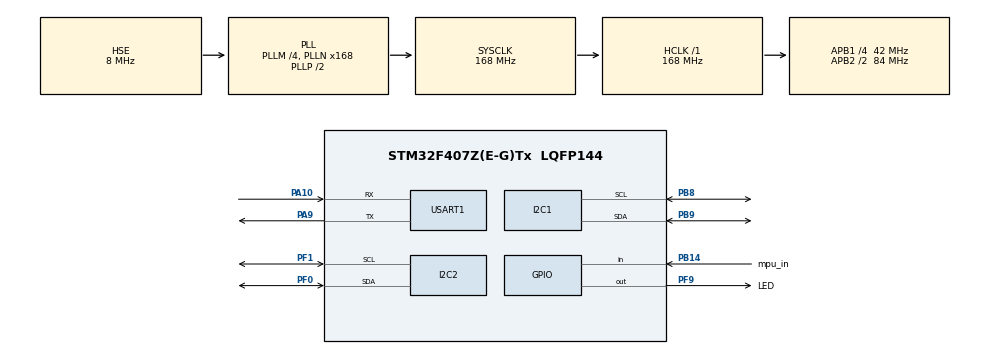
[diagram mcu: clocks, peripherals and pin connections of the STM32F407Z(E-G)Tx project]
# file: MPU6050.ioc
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Dma.Request0=USART1_RX
Dma.USART1_RX.0.Direction=DMA_PERIPH_TO_MEMORY
Dma.USART1_RX.0.FIFOMode=DMA_FIFOMODE_DISABLE
Dma.USART1_RX.0.Instance=DMA2_Stream2
Dma.USART1_RX.0.MemDataAlignment=DMA_MDATAALIGN_BYTE
Dma.USART1_RX.0.MemInc=DMA_MINC_ENABLE
Dma.USART1_RX.0.Mode=DMA_CIRCULAR
Dma.USART1_RX.0.PeriphDataAlignment=DMA_PDATAALIGN_BYTE
Dma.USART1_RX.0.PeriphInc=DMA_PINC_DISABLE
Dma.USART1_RX.0.Priority=DMA_PRIORITY_LOW
Mcu.Family=STM32F4
Mcu.Name=STM32F407Z(E-G)Tx
Mcu.Package=LQFP144
NVIC.DMA2_Stream2_IRQn=true\:0\:0\:false\:false\:true\:false\:true\:true
NVIC.PriorityGroup=NVIC_PRIORITYGROUP_4
NVIC.USART1_IRQn=true\:0\:0\:false\:false\:true\:true\:true\:true
PA10.Mode=Asynchronous
PA10.Signal=USART1_RX
PA13.Mode=Serial_Wire
PA13.Signal=SYS_JTMS-SWDIO
PA14.Mode=Serial_Wire
PA14.Signal=SYS_JTCK-SWCLK
PA9.Mode=Asynchronous
PA9.Signal=USART1_TX
PB14.GPIO_Label=mpu_in
PB14.Signal=GPIO_Input
PB8.Mode=I2C
PB8.Signal=I2C1_SCL
PB9.Mode=I2C
PB9.Signal=I2C1_SDA
PF0.Mode=I2C
PF0.Signal=I2C2_SDA
PF1.Mode=I2C
PF1.Signal=I2C2_SCL
PF9.GPIO_Label=LED
PF9.GPIO_ModeDefaultOutputPP=GPIO_MODE_OUTPUT_PP
PF9.GPIO_PuPd=GPIO_PULLDOWN
PF9.Signal=GPIO_Output
PH0-OSC_IN.Mode=HSE-External-Oscillator
PH0-OSC_IN.Signal=RCC_OSC_IN
PH1-OSC_OUT.Mode=HSE-External-Oscillator
PH1-OSC_OUT.Signal=RCC_OSC_OUT
ProjectManager.HeapSize=0x200
ProjectManager.StackSize=0x400
ProjectManager.TargetToolchain=MDK-ARM V5.27
RCC.48MHZClocksFreq_Value=84000000
RCC.AHBFreq_Value=168000000
RCC.APB1CLKDivider=RCC_HCLK_DIV4
RCC.APB1Freq_Value=42000000
RCC.APB1TimFreq_Value=84000000
RCC.APB2CLKDivider=RCC_HCLK_DIV2
RCC.APB2Freq_Value=84000000
RCC.APB2TimFreq_Value=168000000
RCC.CortexFreq_Value=168000000
RCC.HCLKFreq_Value=168000000
RCC.HSE_VALUE=8000000
RCC.HSI_VALUE=16000000
RCC.LSE_VALUE=32768
RCC.PLLM=4
RCC.PLLN=168
RCC.PLLSourceVirtual=RCC_PLLSOURCE_HSE
RCC.SYSCLKFreq_VALUE=168000000
RCC.SYSCLKSource=RCC_SYSCLKSOURCE_PLLCLK
RCC.VCOOutputFreq_Value=336000000
USART1.VirtualMode=VM_ASYNC
board=custom

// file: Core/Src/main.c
/* USER CODE BEGIN Header */
/**
  ******************************************************************************
  * @file           : main.c
  * @brief          : Main program body
  ******************************************************************************
  * @attention
  *
  * Copyright (c) 2022 STMicroelectronics.
  * All rights reserved.
  *
  * This software is licensed under terms that can be found in the LICENSE file
  * in the root directory of this software component.
  * If no LICENSE file comes with this software, it is provided AS-IS.
  *
  ******************************************************************************
  */
/* USER CODE END Header */
#include "main.h"
#include "dma.h"
#include "i2c.h"
#include "usart.h"
#include "gpio.h"

/* USER CODE BEGIN Includes */
#include "stdio.h"
#include "mpu6050.h"
#include "oled.h"
/* USER CODE END Includes */

/* USER CODE BEGIN PV */
float data=0.0f;
/* USER CODE END PV */

void SystemClock_Config(void);

/* USER CODE BEGIN 0 */
uint16_t acc0;
uint16_t acc1;
uint16_t acc2;

uint16_t gyro0;
uint16_t gyro1;
uint16_t gyro2;
char num_buffer0[6];
char num_buffer1[6];
char num_buffer2[6];
/* USER CODE END 0 */

int main(void)
{

  /* MCU Configuration--------------------------------------------------------*/

  /* Reset of all peripherals, Initializes the Flash interface and the Systick. */
  HAL_Init();

  /* Configure the system clock */
  SystemClock_Config();

  /* Initialize all configured peripherals */
  MX_GPIO_Init();
  MX_DMA_Init();
  MX_I2C2_Init();
  MX_USART1_UART_Init();
  MX_I2C1_Init();
  /* USER CODE BEGIN 2 */
	//初始化mpu6050
	while(w_mpu_init() != mpu_ok)
	{
		printf("0x%x (ID_ERROR)\r\n", w_mpu_init());
		HAL_Delay(500);
	}
	dmp_init();

	//初始化oled
	OLED_Init();
	OLED_CLS();
  /* USER CODE END 2 */

  /* Infinite loop */
  while (1)
  {

    /* USER CODE BEGIN 3 */
		w_mpu_read_all_raw_data(&mpu_raw_msg);

//		acc0=mpu_raw_msg.mpu_acce[0];
//		acc1=mpu_raw_msg.mpu_acce[1];
//		acc2=mpu_raw_msg.mpu_acce[2];
//
//		gyro0=mpu_raw_msg.mpu_gyro[0];
//		gyro1=mpu_raw_msg.mpu_gyro[1];
//		gyro2=mpu_raw_msg.mpu_gyro[2];

		//读取mpu姿态
		read_dmp(&mpu_pose_msg);
		printf("Pitch: %f\t ", mpu_pose_msg.pitch);
		printf("Roll:  %f\t ", mpu_pose_msg.roll);
		printf("Yaw:   %f\t ", mpu_pose_msg.yaw);
		//data=mpu_pose_msg.yaw;
		printf("\r\n");
		sprintf(num_buffer0,"yaw:%0.2f",mpu_pose_msg.yaw);
		OLED_ShowStr(0,0,num_buffer0,2);
		HAL_Delay(5);
		sprintf(num_buffer1,"pitch:%0.2f",mpu_pose_msg.pitch);
		OLED_ShowStr(0,2,num_buffer1,2);
		HAL_Delay(5);
		sprintf(num_buffer2,"roll:%0.2f",mpu_pose_msg.roll);
		OLED_ShowStr(0,4,num_buffer2,2);
		HAL_Delay(5);
  }
  /* USER CODE END 3 */
}

void SystemClock_Config(void)
{
  RCC_OscInitTypeDef RCC_OscInitStruct = {0};
  RCC_ClkInitTypeDef RCC_ClkInitStruct = {0};

  /** Configure the main internal regulator output voltage
  */
  __HAL_RCC_PWR_CLK_ENABLE();
  __HAL_PWR_VOLTAGESCALING_CONFIG(PWR_REGULATOR_VOLTAGE_SCALE1);

  /** Initializes the RCC Oscillators according to the specified parameters
  * in the RCC_OscInitTypeDef structure.
  */
  RCC_OscInitStruct.OscillatorType = RCC_OSCILLATORTYPE_HSE;
  RCC_OscInitStruct.HSEState = RCC_HSE_ON;
  RCC_OscInitStruct.PLL.PLLState = RCC_PLL_ON;
  RCC_OscInitStruct.PLL.PLLSource = RCC_PLLSOURCE_HSE;
  RCC_OscInitStruct.PLL.PLLM = 4;
  RCC_OscInitStruct.PLL.PLLN = 168;
  RCC_OscInitStruct.PLL.PLLP = RCC_PLLP_DIV2;
  RCC_OscInitStruct.PLL.PLLQ = 4;
  if (HAL_RCC_OscConfig(&RCC_OscInitStruct) != HAL_OK)
  {
    Error_Handler();
  }

  /** Initializes the CPU, AHB and APB buses clocks
  */
  RCC_ClkInitStruct.ClockType = RCC_CLOCKTYPE_HCLK|RCC_CLOCKTYPE_SYSCLK
                              |RCC_CLOCKTYPE_PCLK1|RCC_CLOCKTYPE_PCLK2;
  RCC_ClkInitStruct.SYSCLKSource = RCC_SYSCLKSOURCE_PLLCLK;
  RCC_ClkInitStruct.AHBCLKDivider = RCC_SYSCLK_DIV1;
  RCC_ClkInitStruct.APB1CLKDivider = RCC_HCLK_DIV4;
  RCC_ClkInitStruct.APB2CLKDivider = RCC_HCLK_DIV2;

  if (HAL_RCC_ClockConfig(&RCC_ClkInitStruct, FLASH_LATENCY_5) != HAL_OK)
  {
    Error_Handler();
  }
}

/* USER CODE BEGIN 4 */
int fputc(int ch,FILE *f)
{
	HAL_UART_Transmit (&huart1 ,(uint8_t *)&ch,1,HAL_MAX_DELAY );
	return ch;
}
/* USER CODE END 4 */

void Error_Handler(void)
{
  __disable_irq();
  while (1)
  {
  }
}
